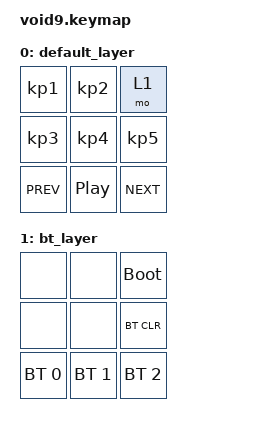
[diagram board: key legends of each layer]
#include <behaviors.dtsi>
#include <dt-bindings/zmk/keys.h>
#include <dt-bindings/zmk/bt.h>

/ {  
    keymap {
        compatible = "zmk,keymap";

        default_layer {
            bindings = <
                &kp KP_N1     &kp KP_N2     &mo 1
                &kp KP_N3     &kp KP_N4     &kp KP_N5
                &kp C_PREV     &kp C_PP     &kp C_NEXT
            >;
        }; 
        
        bt_layer {
            bindings = <
                &none            &none            &bootloader
                &none            &none            &bt BT_CLR
                &bt BT_SEL 0     &bt BT_SEL 1     &bt BT_SEL 2
            >;
        };
    };
};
